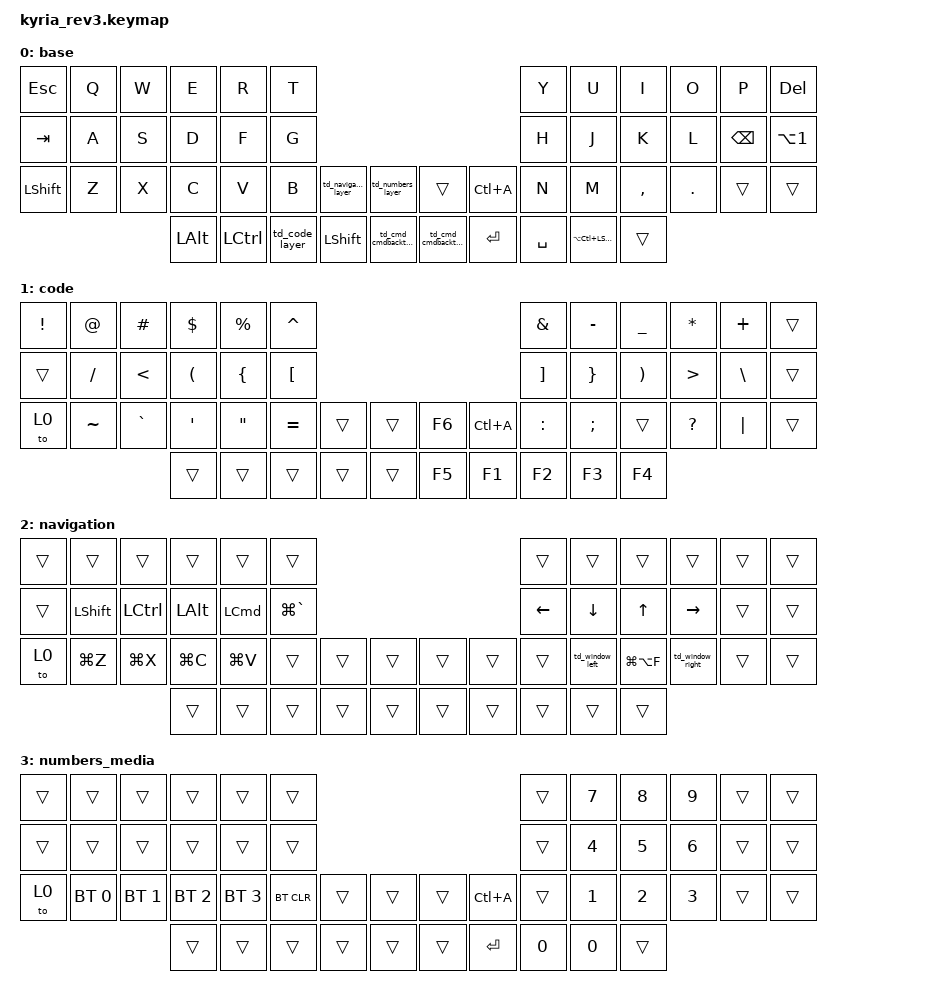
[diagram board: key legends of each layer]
/*
 * Copyright (c) 2023 The ZMK Contributors
 *
 * SPDX-License-Identifier: MIT
 */

#include <behaviors.dtsi>
#include <dt-bindings/zmk/bt.h>
#include <dt-bindings/zmk/keys.h>

/* Uncomment this block if using RGB
&led_strip {
    chain-length = <6>;
    // chain-length = <31>; // Uncomment if using both per-key and underglow LEDs
    // chain-length = <25>; // Uncomment if using only per-key LEDs.
};
 */

/ {
    behaviors {
        td_cmd_cmdbackthick: td_cmd_cmdbackthick {
            compatible = "zmk,behavior-tap-dance";
            label = "TD_CMD_CMDBACKTHICK";
            #binding-cells = <0>;
            bindings = <&kp LCMD>, <&kp LG(GRAVE)>;
        };

        td_window_left: td_window_left {
            compatible = "zmk,behavior-tap-dance";
            label = "TD_WINDOW_LEFT";
            #binding-cells = <0>;
            bindings = <&kp LG(LA(LEFT_ARROW))>, <&kp LG(LC(LA(LEFT_ARROW)))>;
        };

        td_window_right: td_window_right {
            compatible = "zmk,behavior-tap-dance";
            label = "TD_WINDOW_RIGHT";
            #binding-cells = <0>;
            bindings = <&kp LG(LA(RIGHT_ARROW))>, <&kp LG(LC(LA(RIGHT_ARROW)))>;
        };

        td_numbers_layer: td_numbers_layer {
            compatible = "zmk,behavior-tap-dance";
            label = "TD_NUMBERS_LAYER";
            #binding-cells = <0>;
            bindings = <&mo 3>, <&to 3>;
        };

        td_navigation_layer: td_navigation_layer {
            compatible = "zmk,behavior-tap-dance";
            label = "TD_NAVIGATION_LAYER";
            #binding-cells = <0>;
            bindings = <&mo 2>, <&to 2>;
        };

        td_code_layer: td_code_layer {
            compatible = "zmk,behavior-tap-dance";
            label = "TD_CODE_LAYER";
            #binding-cells = <0>;
            bindings = <&mo 1>, <&to 1>;
        };
    };

    keymap {
        compatible = "zmk,keymap";

        base {
            // ---------------------------------------------------------------------------------------------------------------------------------
            // |  ESC  |  Q  |  W  |  E   |  R   |  T   |                                          |  Y   |  U    |  I    |  O   |   P   |   \  |
            // |  TAB  |  A  |  S  |  D   |  F   |  G   |                                          |  H   |  J    |  K    |  L   |   ;   |   '  |
            // | SHIFT |  Z  |  X  |  C   |  V   |  B   | L SHIFT | L SHIFT |  | LAYER 1 | L SHIFT |  N   |  M    |  ,    |  .   |   /   | CTRL |
            //                     | GUI  | DEL  | RET  |  SPACE  |   ESC   |  |   RET   |  SPACE  | TAB  | BSPC  | R-ALT |

            bindings = <
&kp ESC    &kp Q  &kp W  &kp E         &kp R      &kp T                                                                                         &kp Y      &kp U                   &kp I      &kp O    &kp P          &kp DELETE
&kp TAB    &kp A  &kp S  &kp D         &kp F      &kp G                                                                                         &kp H      &kp J                   &kp K      &kp L    &kp BACKSPACE  &kp LA(NUMBER_1)
&kp LSHFT  &kp Z  &kp X  &kp C         &kp V      &kp B           &td_navigation_layer  &td_numbers_layer     &trans                &kp LC(A)   &kp N      &kp M                   &kp COMMA  &kp DOT  &trans         &trans
                         &kp LEFT_ALT  &kp LCTRL  &td_code_layer  &kp LEFT_SHIFT        &td_cmd_cmdbackthick  &td_cmd_cmdbackthick  &kp RETURN  &kp SPACE  &kp LA(LC(LEFT_SHIFT))  &trans
            >;
        };

        code {
            // ---------------------------------------------------------------------------------------------------------------------------------
            // |       |      |BT_CLR|BTSEL0|BTSEL1|BTSEL2|                                         |      |      |      |      |      |      |
            // |       |      |      |BTSEL3|BTSEL4|      |                                         |      |      |      |      |      |      |
            // |       |      |      |      |      |      |      |      |      |      |      |      |      |      |      |      |      |      |
            //                       |      |      |      |      |      |      |      |      |      |      |      |      |

            bindings = <
&kp EXCLAMATION  &kp AT_SIGN  &kp HASH       &kp DOLLAR            &kp PERCENT        &kp CARET                                            &kp AMPERSAND      &kp MINUS        &kp UNDERSCORE         &kp ASTERISK      &kp PLUS       &trans
&trans           &kp SLASH    &kp LESS_THAN  &kp LEFT_PARENTHESIS  &kp LEFT_BRACE     &kp LEFT_BRACKET                                     &kp RIGHT_BRACKET  &kp RIGHT_BRACE  &kp RIGHT_PARENTHESIS  &kp GREATER_THAN  &kp BACKSLASH  &trans
&to 0            &kp TILDE    &kp GRAVE      &kp SINGLE_QUOTE      &kp DOUBLE_QUOTES  &kp EQUAL         &trans  &trans  &kp F6  &kp LC(A)  &kp COLON          &kp SEMICOLON    &trans                 &kp QUESTION      &kp PIPE       &trans
                                             &trans                &trans             &trans            &trans  &trans  &kp F5  &kp F1     &kp F2             &kp F3           &kp F4
            >;
        };

        navigation {
            bindings = <
&trans  &trans          &trans     &trans        &trans     &trans                                         &trans          &trans           &trans         &trans            &trans  &trans
&trans  &kp LEFT_SHIFT  &kp LCTRL  &kp LEFT_ALT  &kp LCMD   &kp LG(GRAVE)                                  &kp LEFT_ARROW  &kp DOWN_ARROW   &kp UP_ARROW   &kp RIGHT_ARROW   &trans  &trans
&to 0   &kp LG(Z)       &kp LG(X)  &kp LG(C)     &kp LG(V)  &trans         &trans  &trans  &trans  &trans  &trans          &td_window_left  &kp LG(LA(F))  &td_window_right  &trans  &trans
                                   &trans        &trans     &trans         &trans  &trans  &trans  &trans  &trans          &trans           &trans
            >;
        };

        numbers_media {
            bindings = <
&trans  &trans        &trans        &trans        &trans        &trans                                          &trans        &kp NUMBER_7  &kp NUMBER_8  &kp NUMBER_9  &trans  &trans
&trans  &trans        &trans        &trans        &trans        &trans                                          &trans        &kp NUMBER_4  &kp N5        &kp NUMBER_6  &trans  &trans
&to 0   &bt BT_SEL 0  &bt BT_SEL 1  &bt BT_SEL 2  &bt BT_SEL 3  &bt BT_CLR  &trans  &trans  &trans  &kp LC(A)   &trans        &kp NUMBER_1  &kp NUMBER_2  &kp NUMBER_3  &trans  &trans
                                    &trans        &trans        &trans      &trans  &trans  &trans  &kp RETURN  &kp NUMBER_0  &kp NUMBER_0  &trans
            >;
        };
    };
};
